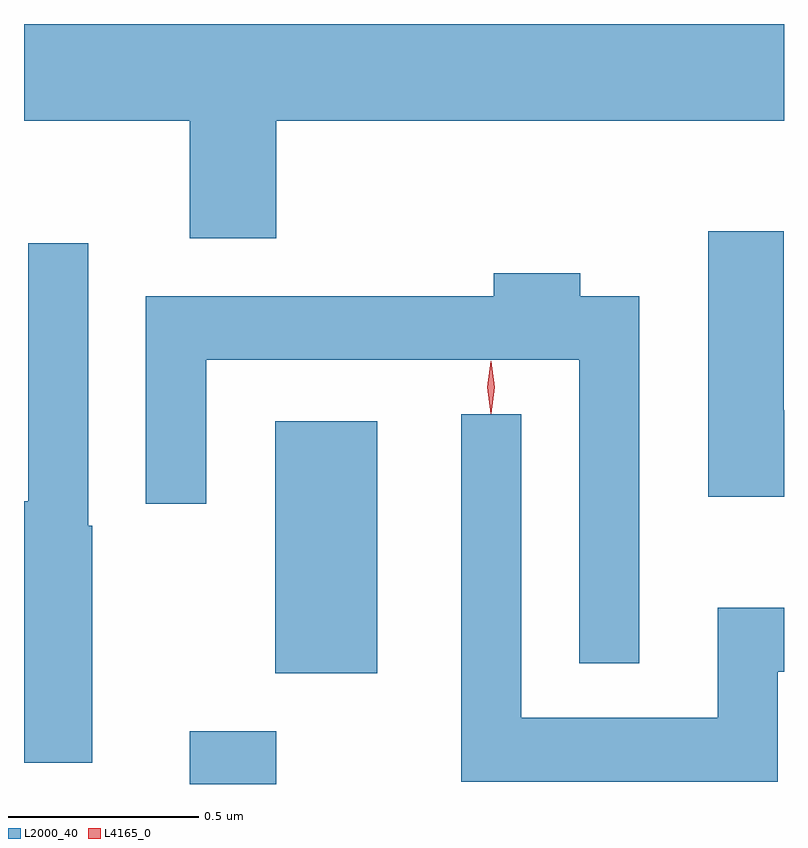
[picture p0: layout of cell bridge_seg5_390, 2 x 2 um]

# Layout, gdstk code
import gdstk
lib = gdstk.Library(unit=1e-6, precision=1e-09)
def R(c, l, rs):  # rectangles x0, y0, x1, y1
    for r in rs: c.add(gdstk.rectangle(r[:2], r[2:], *l))
def P(c, l, *ps):  # polygons
    for p in ps: c.add(gdstk.Polygon(p, *l))
L2000_40 = (2000, 40)
L4165_0 = (4165, 0)

bridge_seg5_390 = lib.new_cell('bridge_seg5_390')
R(bridge_seg5_390, L2000_40, [(548.411,1519.43,548.639,1519.569), (548.636,1519.721,548.904,1520.384)])
P(bridge_seg5_390, L2000_40, [(547.975,1521.176),(548.411,1521.176),(548.411,1520.866),(548.639,1520.866),(548.639,1521.176),(549.975,1521.176),(549.975,1521.43),(547.975,1521.43)],
  [(549.975,1520.414),(549.974,1520.414),(549.974,1520.884),(549.776,1520.884),(549.776,1520.186),(549.975,1520.186)],
  [(548.154,1520.11),(548.144,1520.11),(548.144,1520.853),(547.986,1520.853),(547.986,1520.174),(547.975,1520.174),(547.975,1519.486),(548.154,1519.486)],
  [(549.594,1520.714),(549.439,1520.714),(549.439,1520.774),(549.211,1520.774),(549.211,1520.714),(548.296,1520.714),(548.296,1520.168),(548.454,1520.168),(548.454,1520.546),(549.436,1520.546),(549.436,1519.748),(549.594,1519.748)],
  [(549.959,1519.726),(549.975,1519.726),(549.975,1519.894),(549.801,1519.894),(549.801,1519.604),(549.284,1519.604),(549.284,1520.403),(549.126,1520.403),(549.126,1519.436),(549.959,1519.436)])
P(bridge_seg5_390, L4165_0, [(549.203,1520.407),(549.194,1520.474),(549.203,1520.54),(549.204,1520.54),(549.204,1520.54),(549.214,1520.474),(549.204,1520.407),(549.204,1520.407)],
  [(549.203,1520.404),(549.194,1520.474),(549.203,1520.542),(549.204,1520.543),(549.204,1520.542),(549.214,1520.474),(549.204,1520.404),(549.204,1520.404)])

lib.write_gds('bridge_seg5_390.gds')
